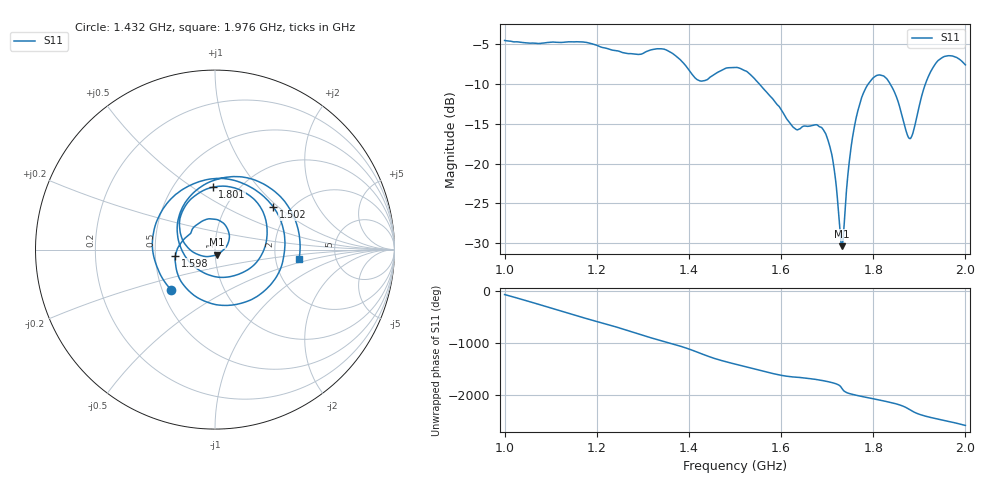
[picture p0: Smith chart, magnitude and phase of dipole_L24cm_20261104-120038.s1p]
! Dipole length 24 cm, measured 20261104-120038
# GHZ S RI R 50.000000000000
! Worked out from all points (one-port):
!   1001 points, 1 GHz to 2 GHz, reference 50 ohm
!   lowest |S11| = -30.4 dB at 1.732 GHz (marker M1), VSWR 1.06, Z = 51.2 - j2.83 ohm
!   |S11| at or under -10 dB: 1.553 GHz to 1.789 GHz (236.1 MHz wide, 14.1 % of centre); 1.837 GHz to 1.913 GHz (76.27 MHz wide, 4.07 % of centre)
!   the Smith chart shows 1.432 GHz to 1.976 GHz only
!   S11 on the Smith chart (normalised r, x): 1.432 GHz: 0.56, -0.28; 1.502 GHz: 1.64, +0.93; 1.598 GHz: 0.64, -0.05; 1.801 GHz: 0.77, +0.61; 1.976 GHz: 2.73, -0.35
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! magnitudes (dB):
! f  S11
! 1 GHz  -4.5
! 1.125 GHz  -4.8
! 1.25 GHz  -5.9
! 1.341 GHz  -5.6
! 1.375 GHz  -6.6
! 1.432 GHz  -9.6
! 1.5 GHz  -7.9
! 1.502 GHz  -7.9
! 1.533 GHz  -8.8
! 1.598 GHz  -13.0
! 1.625 GHz  -15.4
! 1.677 GHz  -15.1
! 1.697 GHz  -16.3
! 1.713 GHz  -19.8
! 1.728 GHz  -28.7
! 1.732 GHz  -30.4
! 1.736 GHz  -28.5
! 1.75 GHz  -18.8
! 1.76 GHz  -15.1
! 1.772 GHz  -12.2
! 1.801 GHz  -9.2
! 1.837 GHz  -10.0
! 1.875 GHz  -16.5
! 1.885 GHz  -16.4
! 1.909 GHz  -10.7
! 1.929 GHz  -8.0
! 1.976 GHz  -6.5
! 2 GHz  -7.6
